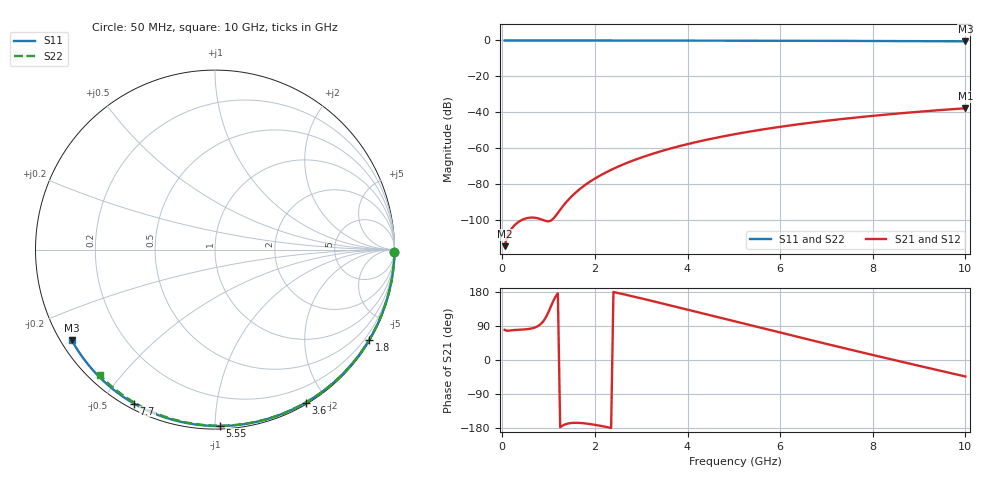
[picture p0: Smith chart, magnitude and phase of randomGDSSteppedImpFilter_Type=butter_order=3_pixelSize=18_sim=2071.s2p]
! freq	dB(S11)	phase(S11)	dB(S12)	phase(S12)
!  dB(S21)	phase(S21)	dB(S22)	phase(S22)
!S-par simulation data
#  GHz  S  DB  R 50
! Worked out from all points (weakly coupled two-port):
!   200 points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, 50 MHz to 10 GHz, reference 50 ohm
!   highest |S21| = -37.74 dB at 10 GHz (marker M1); lowest = -114.5 dB at 50 MHz (marker M2)
!   lowest |S11| = -0.5 dB at 10 GHz (marker M3), VSWR 34.75, Z = 1.56 - j14.4 ohm
!   |S11| at or under -10 dB: nowhere
!   |S22| runs from -0.4 to 0.0 dB; largest |S21 - S12| = 0
!   S11 on the Smith chart (normalised r, x): 50 MHz: open; 1.8 GHz: 0.03, -3.67; 3.6 GHz: 0.02, -1.75; 5.55 GHz: 0.02, -1.03; 7.7 GHz: 0.02, -0.60; 10 GHz: 0.03, -0.29
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0.05  -0.00 -0.9  -114.50 79.6  -114.50 79.6  -0.00 -0.8
0.45  -0.01 -7.7  -99.59 80.4  -99.59 80.4  -0.01 -6.9
0.9  -0.02 -15.4  -100.16 104.6  -100.16 104.6  -0.02 -13.7
1.3  -0.03 -22.1  -92.52 -173.3  -92.52 -173.3  -0.02 -19.8
1.75  -0.04 -29.6  -81.19 -166.9  -81.19 -166.9  -0.03 -26.5
1.8  -0.04 -30.5  -80.24 -167.5  -80.24 -167.5  -0.03 -27.2
2.15  -0.05 -36.2  -74.65 -174.4  -74.65 -174.4  -0.04 -32.4
2.5  -0.05 -41.9  -70.23 176.7  -70.23 176.7  -0.05 -37.5
2.9  -0.06 -48.4  -66.09 165.5  -66.09 165.5  -0.06 -43.3
3.4  -0.07 -56.3  -61.85 150.9  -61.85 150.9  -0.07 -50.4
3.6  -0.08 -59.4  -60.37 144.9  -60.37 144.9  -0.07 -53.2
3.9  -0.09 -64.0  -58.33 135.8  -58.33 135.8  -0.08 -57.4
4.3  -0.10 -70.1  -55.90 123.7  -55.90 123.7  -0.09 -62.9
5.05  -0.12 -81.1  -52.03 100.9  -52.03 100.9  -0.11 -72.9
5.55  -0.14 -88.3  -49.83 85.8  -49.83 85.8  -0.13 -79.4
6.1  -0.17 -96.1  -47.70 69.2  -47.70 69.2  -0.15 -86.5
6.7  -0.20 -104.3  -45.64 51.3  -45.64 51.3  -0.18 -93.9
7.2  -0.23 -111.1  -44.11 36.6  -44.11 36.6  -0.21 -100.0
7.7  -0.27 -117.7  -42.73 21.9  -42.73 21.9  -0.24 -106.0
8.35  -0.32 -126.2  -41.11 3.2  -41.11 3.2  -0.29 -113.7
9.2  -0.41 -137.3  -39.25 -21.1  -39.25 -21.1  -0.37 -123.5
10  -0.50 -147.8  -37.74 -43.5  -37.74 -43.5  -0.45 -132.7
